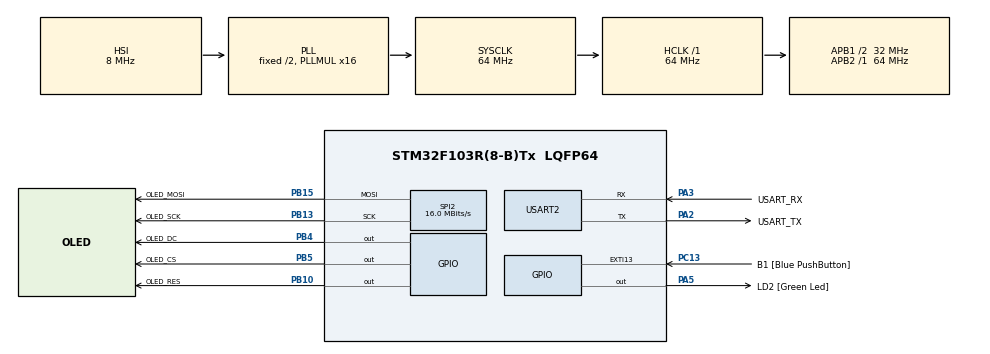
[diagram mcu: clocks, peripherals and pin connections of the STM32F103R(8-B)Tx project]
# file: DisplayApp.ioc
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Mcu.Family=STM32F1
Mcu.Name=STM32F103R(8-B)Tx
Mcu.Package=LQFP64
NVIC.EXTI15_10_IRQn=true\:0\:0\:false\:false\:true\:true\:true
NVIC.PriorityGroup=NVIC_PRIORITYGROUP_4
PA13.GPIO_Label=TMS
PA13.Mode=Serial_Wire
PA13.Signal=SYS_JTMS-SWDIO
PA14.GPIO_Label=TCK
PA14.Mode=Serial_Wire
PA14.Signal=SYS_JTCK-SWCLK
PA2.GPIO_Label=USART_TX
PA2.GPIO_Mode=GPIO_MODE_AF_PP
PA2.GPIO_PuPd=GPIO_NOPULL
PA2.GPIO_Speed=GPIO_SPEED_FREQ_LOW
PA2.Mode=Asynchronous
PA2.Signal=USART2_TX
PA3.GPIO_Label=USART_RX
PA3.GPIO_Mode=GPIO_MODE_AF_PP
PA3.GPIO_PuPd=GPIO_NOPULL
PA3.GPIO_Speed=GPIO_SPEED_FREQ_LOW
PA3.Mode=Asynchronous
PA3.Signal=USART2_RX
PA5.GPIO_Label=LD2 [Green Led]
PA5.GPIO_ModeDefaultOutputPP=GPIO_MODE_OUTPUT_PP
PA5.GPIO_PuPd=GPIO_NOPULL
PA5.GPIO_Speed=GPIO_SPEED_FREQ_LOW
PA5.Signal=GPIO_Output
PB10.GPIO_Label=OLED_RES
PB10.Signal=GPIO_Output
PB13.GPIO_Label=OLED_SCK
PB13.Mode=TX_Only_Simplex_Unidirect_Master
PB13.Signal=SPI2_SCK
PB15.GPIO_Label=OLED_MOSI
PB15.Mode=TX_Only_Simplex_Unidirect_Master
PB15.Signal=SPI2_MOSI
PB3.GPIO_Label=SWO
PB3.Signal=SYS_JTDO-TRACESWO
PB4.GPIO_Label=OLED_DC
PB4.Signal=GPIO_Output
PB5.GPIO_Label=OLED_CS
PB5.Signal=GPIO_Output
PC13-TAMPER-RTC.GPIO_Label=B1 [Blue PushButton]
PC13-TAMPER-RTC.GPIO_PuPd=GPIO_NOPULL
PC13-TAMPER-RTC.Signal=GPXTI13
PC14-OSC32_IN.Mode=LSE-External-Oscillator
PC14-OSC32_IN.Signal=RCC_OSC32_IN
PC15-OSC32_OUT.Mode=LSE-External-Oscillator
PC15-OSC32_OUT.Signal=RCC_OSC32_OUT
PD0-OSC_IN.Mode=HSE-External-Clock-Source
PD0-OSC_IN.Signal=RCC_OSC_IN
PD1-OSC_OUT.Mode=HSE-External-Clock-Source
PD1-OSC_OUT.Signal=RCC_OSC_OUT
ProjectManager.HeapSize=0x200
ProjectManager.StackSize=0x400
ProjectManager.TargetToolchain=STM32CubeIDE
RCC.AHBFreq_Value=64000000
RCC.APB1CLKDivider=RCC_HCLK_DIV2
RCC.APB1Freq_Value=32000000
RCC.APB1TimFreq_Value=64000000
RCC.APB2Freq_Value=64000000
RCC.APB2TimFreq_Value=64000000
RCC.HCLKFreq_Value=64000000
RCC.PLLMUL=RCC_PLL_MUL16
RCC.RTCClockSelection=RCC_RTCCLKSOURCE_LSE
RCC.SYSCLKFreq_VALUE=64000000
RCC.SYSCLKSource=RCC_SYSCLKSOURCE_PLLCLK
RCC.USBFreq_Value=64000000
SPI2.CalculateBaudRate=16.0 MBits/s
SPI2.Direction=SPI_DIRECTION_2LINES
SPI2.Mode=SPI_MODE_MASTER
SPI2.VirtualType=VM_MASTER
USART2.VirtualMode=VM_ASYNC
board=NUCLEO-F103RB

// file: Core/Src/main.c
/* USER CODE BEGIN Header */
/**
  ******************************************************************************
  * @file           : main.c
  * @brief          : Main program body
  ******************************************************************************
  * @attention
  *
  * Copyright (c) 2021 STMicroelectronics.
  * All rights reserved.
  *
  * This software is licensed under terms that can be found in the LICENSE file
  * in the root directory of this software component.
  * If no LICENSE file comes with this software, it is provided AS-IS.
  *
  ******************************************************************************
  */
/* USER CODE END Header */
#include "main.h"
#include "spi.h"
#include "usart.h"
#include "gpio.h"

/* USER CODE BEGIN Includes */
#include "AppCInterface.h"
#include "assert.h"
/* USER CODE END Includes */

void SystemClock_Config(void);

int main(void)
{

  /* MCU Configuration--------------------------------------------------------*/

  /* Reset of all peripherals, Initializes the Flash interface and the Systick. */
  HAL_Init();

  /* Configure the system clock */
  SystemClock_Config();

  /* Initialize all configured peripherals */
  MX_GPIO_Init();
  MX_USART2_UART_Init();
  MX_SPI2_Init();
  /* USER CODE BEGIN 2 */
  DisplaySpiInterface displaySpiInterface =
  {
    .m_pSpi = SPI2,
    .m_pCsPort = OLED_CS_GPIO_Port,
    .m_CsPin = OLED_CS_Pin,
    .m_pDcPort = OLED_DC_GPIO_Port,
    .m_DcPin = OLED_DC_Pin,
    .m_pResPort = OLED_RES_GPIO_Port,
    .m_ResPin = OLED_RES_Pin
  };

  AppInitStruct appInitStruct =
  {
    .m_pDisplaySpiInterface = &displaySpiInterface
  };

  AppContext* pApp = App_Create(&appInitStruct);
  assert(pApp != NULL);
  /* USER CODE END 2 */

  /* Infinite loop */
  while (1)
  {

    /* USER CODE BEGIN 3 */
    App_Tick(pApp);
#ifdef DEBUG
    App_DebugTick(pApp);
#endif
  }
  /* USER CODE END 3 */
}

void SystemClock_Config(void)
{
  RCC_OscInitTypeDef RCC_OscInitStruct = {0};
  RCC_ClkInitTypeDef RCC_ClkInitStruct = {0};

  /** Initializes the RCC Oscillators according to the specified parameters
  * in the RCC_OscInitTypeDef structure.
  */
  RCC_OscInitStruct.OscillatorType = RCC_OSCILLATORTYPE_HSI;
  RCC_OscInitStruct.HSIState = RCC_HSI_ON;
  RCC_OscInitStruct.HSICalibrationValue = RCC_HSICALIBRATION_DEFAULT;
  RCC_OscInitStruct.PLL.PLLState = RCC_PLL_ON;
  RCC_OscInitStruct.PLL.PLLSource = RCC_PLLSOURCE_HSI_DIV2;
  RCC_OscInitStruct.PLL.PLLMUL = RCC_PLL_MUL16;
  if (HAL_RCC_OscConfig(&RCC_OscInitStruct) != HAL_OK)
  {
    Error_Handler();
  }
  /** Initializes the CPU, AHB and APB buses clocks
  */
  RCC_ClkInitStruct.ClockType = RCC_CLOCKTYPE_HCLK|RCC_CLOCKTYPE_SYSCLK
                              |RCC_CLOCKTYPE_PCLK1|RCC_CLOCKTYPE_PCLK2;
  RCC_ClkInitStruct.SYSCLKSource = RCC_SYSCLKSOURCE_PLLCLK;
  RCC_ClkInitStruct.AHBCLKDivider = RCC_SYSCLK_DIV1;
  RCC_ClkInitStruct.APB1CLKDivider = RCC_HCLK_DIV2;
  RCC_ClkInitStruct.APB2CLKDivider = RCC_HCLK_DIV1;

  if (HAL_RCC_ClockConfig(&RCC_ClkInitStruct, FLASH_LATENCY_2) != HAL_OK)
  {
    Error_Handler();
  }
}

void Error_Handler(void)
{
  __disable_irq();
  while (1)
  {
  }
}
